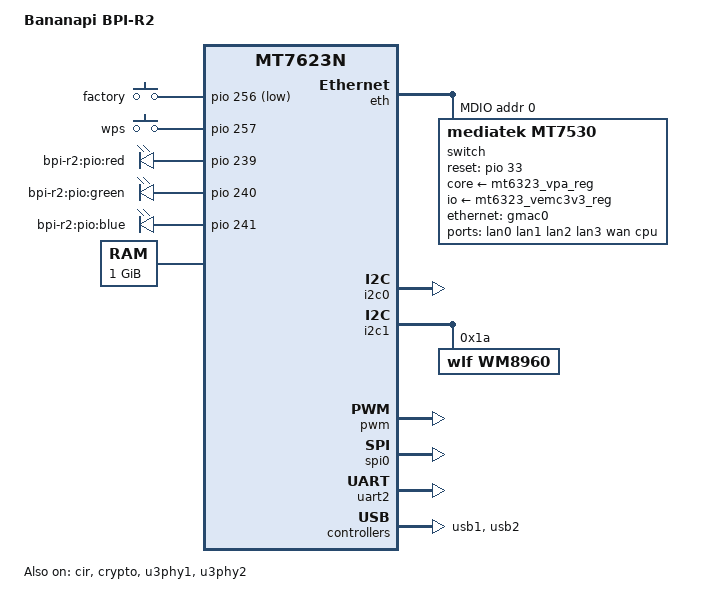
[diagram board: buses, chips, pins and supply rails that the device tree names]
/*
 * Copyright 2017 Sean Wang <sean.wang@mediatek.com>
 *
 * Sean Wang <sean.wang@mediatek.com>
 *
 * This file is dual-licensed: you can use it either under the terms
 * of the GPL or the X11 license, at your option. Note that this dual
 * licensing only applies to this file, and not this project as a
 * whole.
 *
 *  a) This file is free software; you can redistribute it and/or
 *     modify it under the terms of the GNU General Public License as
 *     published by the Free Software Foundation; either version 2 of the
 *     License, or (at your option) any later version.
 *
 *     This file is distributed in the hope that it will be useful,
 *     but WITHOUT ANY WARRANTY; without even the implied warranty of
 *     MERCHANTABILITY or FITNESS FOR A PARTICULAR PURPOSE.  See the
 *     GNU General Public License for more details.
 *
 * Or, alternatively,
 *
 *  b) Permission is hereby granted, free of charge, to any person
 *     obtaining a copy of this software and associated documentation
 *     files (the "Software"), to deal in the Software without
 *     restriction, including without limitation the rights to use,
 *     copy, modify, merge, publish, distribute, sublicense, and/or
 *     sell copies of the Software, and to permit persons to whom the
 *     Software is furnished to do so, subject to the following
 *     conditions:
 *
 *     The above copyright notice and this permission notice shall be
 *     included in all copies or substantial portions of the Software.
 *
 *     THE SOFTWARE IS PROVIDED "AS IS", WITHOUT WARRANTY OF ANY KIND,
 *     EXPRESS OR IMPLIED, INCLUDING BUT NOT LIMITED TO THE WARRANTIES
 *     OF MERCHANTABILITY, FITNESS FOR A PARTICULAR PURPOSE AND
 *     NONINFRINGEMENT. IN NO EVENT SHALL THE AUTHORS OR COPYRIGHT
 *     HOLDERS BE LIABLE FOR ANY CLAIM, DAMAGES OR OTHER LIABILITY,
 *     WHETHER IN AN ACTION OF CONTRACT, TORT OR OTHERWISE, ARISING
 *     FROM, OUT OF OR IN CONNECTION WITH THE SOFTWARE OR THE USE OR
 *     OTHER DEALINGS IN THE SOFTWARE.
 */

/dts-v1/;
#include <dt-bindings/input/input.h>
#include "mt7623-mt6323.dtsi"

/ {
	model = "Bananapi BPI-R2";
	compatible = "bananapi,bpi-r2", "mediatek,mt7623n";

	aliases {
		serial2 = &uart2;
	};

	chosen {
		stdout-path = "serial2:115200n8";
	};

	gpio_keys {
		compatible = "gpio-keys";
		pinctrl-names = "default";
		pinctrl-0 = <&key_pins_a>;

		factory {
			label = "factory";
			linux,code = <BTN_0>;
			gpios = <&pio 256 GPIO_ACTIVE_LOW>;
		};

		wps {
			label = "wps";
			linux,code = <KEY_WPS_BUTTON>;
			gpios = <&pio 257 GPIO_ACTIVE_HIGH>;
		};
	};

	leds {
		compatible = "gpio-leds";
		pinctrl-names = "default";
		pinctrl-0 = <&led_pins_a>;

		red {
			label = "bpi-r2:pio:red";
			gpios = <&pio 239 GPIO_ACTIVE_HIGH>;
			default-state = "off";
		};

		green {
			label = "bpi-r2:pio:green";
			gpios = <&pio 240 GPIO_ACTIVE_HIGH>;
			default-state = "off";
		};

		blue {
			label = "bpi-r2:pio:blue";
			gpios = <&pio 241 GPIO_ACTIVE_HIGH>;
			default-state = "off";
		};
	};

	memory@80000000 {
		reg = <0 0x80000000 0 0x40000000>;
	};

	sound:sound {
		compatible = "mediatek,mt2701-wm8960-machine";
		mediatek,platform = <&afe>;
		audio-routing =
			"Headphone", "HP_L",
			"Headphone", "HP_R",
			"LINPUT1", "AMIC",
			"RINPUT1", "AMIC";
		mediatek,audio-codec = <&wm8960>;
		pinctrl-names = "default";
		pinctrl-0 = <&i2s0_pins_a>;
	};
};

&pio {
	cir_pins_a:cir@0 {
		pins_cir {
			pinmux = <MT7623_PIN_46_IR_FUNC_IR>;
			bias-disable;
		};
	};

	i2c0_pins_a: i2c@0 {
		pins_i2c0 {
			pinmux = <MT7623_PIN_75_SDA0_FUNC_SDA0>,
				 <MT7623_PIN_76_SCL0_FUNC_SCL0>;
			bias-disable;
		};
	};

	i2c1_pins_a: i2c@1 {
		pin_i2c1 {
			pinmux = <MT7623_PIN_57_SDA1_FUNC_SDA1>,
				 <MT7623_PIN_58_SCL1_FUNC_SCL1>;
			bias-disable;
		};
	};

	i2s0_pins_a: i2s@0 {
		pin_i2s0 {
			pinmux = <MT7623_PIN_49_I2S0_DATA_FUNC_I2S0_DATA>,
				 <MT7623_PIN_72_I2S0_DATA_IN_FUNC_I2S0_DATA_IN>,
				 <MT7623_PIN_73_I2S0_LRCK_FUNC_I2S0_LRCK>,
				 <MT7623_PIN_74_I2S0_BCK_FUNC_I2S0_BCK>,
				 <MT7623_PIN_126_I2S0_MCLK_FUNC_I2S0_MCLK>;
			drive-strength = <MTK_DRIVE_12mA>;
			bias-pull-down;
		};
	};

	i2s1_pins_a: i2s@1 {
		pin_i2s1 {
			pinmux = <MT7623_PIN_33_I2S1_DATA_FUNC_I2S1_DATA>,
				 <MT7623_PIN_34_I2S1_DATA_IN_FUNC_I2S1_DATA_IN>,
				 <MT7623_PIN_35_I2S1_BCK_FUNC_I2S1_BCK>,
				 <MT7623_PIN_36_I2S1_LRCK_FUNC_I2S1_LRCK>,
				 <MT7623_PIN_37_I2S1_MCLK_FUNC_I2S1_MCLK>;
			drive-strength = <MTK_DRIVE_12mA>;
			bias-pull-down;
		};
	};

	key_pins_a: keys@0 {
		pins_keys {
			pinmux = <MT7623_PIN_256_GPIO256_FUNC_GPIO256>,
				 <MT7623_PIN_257_GPIO257_FUNC_GPIO257> ;
			input-enable;
		};
	};

	led_pins_a: leds@0 {
		pins_leds {
			pinmux = <MT7623_PIN_239_EXT_SDIO0_FUNC_GPIO239>,
				 <MT7623_PIN_240_EXT_XCS_FUNC_GPIO240>,
				 <MT7623_PIN_241_EXT_SCK_FUNC_GPIO241>;
		};
	};

	mmc0_pins_default: mmc0default {
		pins_cmd_dat {
			pinmux = <MT7623_PIN_111_MSDC0_DAT7_FUNC_MSDC0_DAT7>,
				 <MT7623_PIN_112_MSDC0_DAT6_FUNC_MSDC0_DAT6>,
				 <MT7623_PIN_113_MSDC0_DAT5_FUNC_MSDC0_DAT5>,
				 <MT7623_PIN_114_MSDC0_DAT4_FUNC_MSDC0_DAT4>,
				 <MT7623_PIN_118_MSDC0_DAT3_FUNC_MSDC0_DAT3>,
				 <MT7623_PIN_119_MSDC0_DAT2_FUNC_MSDC0_DAT2>,
				 <MT7623_PIN_120_MSDC0_DAT1_FUNC_MSDC0_DAT1>,
				 <MT7623_PIN_121_MSDC0_DAT0_FUNC_MSDC0_DAT0>,
				 <MT7623_PIN_116_MSDC0_CMD_FUNC_MSDC0_CMD>;
			input-enable;
			bias-pull-up;
		};

		pins_clk {
			pinmux = <MT7623_PIN_117_MSDC0_CLK_FUNC_MSDC0_CLK>;
			bias-pull-down;
		};

		pins_rst {
			pinmux = <MT7623_PIN_115_MSDC0_RSTB_FUNC_MSDC0_RSTB>;
			bias-pull-up;
		};
	};

	mmc0_pins_uhs: mmc0 {
		pins_cmd_dat {
			pinmux = <MT7623_PIN_111_MSDC0_DAT7_FUNC_MSDC0_DAT7>,
				 <MT7623_PIN_112_MSDC0_DAT6_FUNC_MSDC0_DAT6>,
				 <MT7623_PIN_113_MSDC0_DAT5_FUNC_MSDC0_DAT5>,
				 <MT7623_PIN_114_MSDC0_DAT4_FUNC_MSDC0_DAT4>,
				 <MT7623_PIN_118_MSDC0_DAT3_FUNC_MSDC0_DAT3>,
				 <MT7623_PIN_119_MSDC0_DAT2_FUNC_MSDC0_DAT2>,
				 <MT7623_PIN_120_MSDC0_DAT1_FUNC_MSDC0_DAT1>,
				 <MT7623_PIN_121_MSDC0_DAT0_FUNC_MSDC0_DAT0>,
				 <MT7623_PIN_116_MSDC0_CMD_FUNC_MSDC0_CMD>;
			input-enable;
			drive-strength = <MTK_DRIVE_2mA>;
			bias-pull-up = <MTK_PUPD_SET_R1R0_01>;
		};

		pins_clk {
			pinmux = <MT7623_PIN_117_MSDC0_CLK_FUNC_MSDC0_CLK>;
			drive-strength = <MTK_DRIVE_2mA>;
			bias-pull-down = <MTK_PUPD_SET_R1R0_01>;
		};

		pins_rst {
			pinmux = <MT7623_PIN_115_MSDC0_RSTB_FUNC_MSDC0_RSTB>;
			bias-pull-up;
		};
	};

	mmc1_pins_default: mmc1default {
		pins_cmd_dat {
			pinmux = <MT7623_PIN_107_MSDC1_DAT0_FUNC_MSDC1_DAT0>,
				 <MT7623_PIN_108_MSDC1_DAT1_FUNC_MSDC1_DAT1>,
				 <MT7623_PIN_109_MSDC1_DAT2_FUNC_MSDC1_DAT2>,
				 <MT7623_PIN_110_MSDC1_DAT3_FUNC_MSDC1_DAT3>,
				 <MT7623_PIN_105_MSDC1_CMD_FUNC_MSDC1_CMD>;
			input-enable;
			drive-strength = <MTK_DRIVE_4mA>;
			bias-pull-up = <MTK_PUPD_SET_R1R0_10>;
		};

		pins_clk {
			pinmux = <MT7623_PIN_106_MSDC1_CLK_FUNC_MSDC1_CLK>;
			bias-pull-down;
			drive-strength = <MTK_DRIVE_4mA>;
		};
	};

	mmc1_pins_uhs: mmc1 {
		pins_cmd_dat {
			pinmux = <MT7623_PIN_107_MSDC1_DAT0_FUNC_MSDC1_DAT0>,
				 <MT7623_PIN_108_MSDC1_DAT1_FUNC_MSDC1_DAT1>,
				 <MT7623_PIN_109_MSDC1_DAT2_FUNC_MSDC1_DAT2>,
				 <MT7623_PIN_110_MSDC1_DAT3_FUNC_MSDC1_DAT3>,
				 <MT7623_PIN_105_MSDC1_CMD_FUNC_MSDC1_CMD>;
			input-enable;
			drive-strength = <MTK_DRIVE_4mA>;
			bias-pull-up = <MTK_PUPD_SET_R1R0_10>;
		};

		pins_clk {
			pinmux = <MT7623_PIN_106_MSDC1_CLK_FUNC_MSDC1_CLK>;
			drive-strength = <MTK_DRIVE_4mA>;
			bias-pull-down = <MTK_PUPD_SET_R1R0_10>;
		};
	};

	spi0_pins_a: spi@0 {
		pins_spi {
			pinmux = <MT7623_PIN_53_SPI0_CSN_FUNC_SPI0_CS>,
				<MT7623_PIN_54_SPI0_CK_FUNC_SPI0_CK>,
				<MT7623_PIN_55_SPI0_MI_FUNC_SPI0_MI>,
				<MT7623_PIN_56_SPI0_MO_FUNC_SPI0_MO>;
			bias-disable;
		};
	};

	pwm_pins_a: pwm@0 {
		pins_pwm {
			pinmux = <MT7623_PIN_203_PWM0_FUNC_PWM0>,
				 <MT7623_PIN_204_PWM1_FUNC_PWM1>,
				 <MT7623_PIN_205_PWM2_FUNC_PWM2>,
				 <MT7623_PIN_206_PWM3_FUNC_PWM3>,
				 <MT7623_PIN_207_PWM4_FUNC_PWM4>;
		};
	};

	uart0_pins_a: uart@0 {
		pins_dat {
			pinmux = <MT7623_PIN_79_URXD0_FUNC_URXD0>,
				 <MT7623_PIN_80_UTXD0_FUNC_UTXD0>;
		};
	};

	uart1_pins_a: uart@1 {
		pins_dat {
			pinmux = <MT7623_PIN_81_URXD1_FUNC_URXD1>,
				 <MT7623_PIN_82_UTXD1_FUNC_UTXD1>;
		};
	};
};

&cir {
	pinctrl-names = "default";
	pinctrl-0 = <&cir_pins_a>;
	status = "okay";
};

&crypto {
	status = "okay";
};

&eth {
	status = "okay";
	gmac0: mac@0 {
		compatible = "mediatek,eth-mac";
		reg = <0>;
		phy-mode = "trgmii";
		fixed-link {
			speed = <1000>;
			full-duplex;
			pause;
		};
	};

	mdio: mdio-bus {
		switch@0 {
			compatible = "mediatek,mt7530";
			#address-cells = <1>;
			#size-cells = <0>;
			reg = <0>;

			pinctrl-names = "default";
			reset-gpios = <&pio 33 0>;
			core-supply = <&mt6323_vpa_reg>;
			io-supply = <&mt6323_vemc3v3_reg>;

			ports {
				#address-cells = <1>;
				#size-cells = <0>;
				reg = <0>;
				port@0 {
					reg = <0>;
					label = "lan0";
				};

				port@1 {
					reg = <1>;
					label = "lan1";
				};

				port@2 {
					reg = <2>;
					label = "lan2";
				};

				port@3 {
					reg = <3>;
					label = "lan3";
				};

				port@4 {
					reg = <4>;
					label = "wan";
				};

				port@6 {
					reg = <6>;
					label = "cpu";
					ethernet = <&gmac0>;
					phy-mode = "rgmii";
					fixed-link {
						speed = <1000>;
						full-duplex;
					};
				};
			};
		};
	};
};

&pwrap {
	mt6323 {
		mt6323led: led {
			compatible = "mediatek,mt6323-led";
			#address-cells = <1>;
			#size-cells = <0>;

			led@0 {
				reg = <0>;
				label = "bpi-r2:isink:green";
				default-state = "off";
			};
			led@1 {
				reg = <1>;
				label = "bpi-r2:isink:red";
				default-state = "off";
			};
			led@2 {
				reg = <2>;
				label = "bpi-r2:isink:blue";
				default-state = "off";
			};
		};
	};
};

&i2c0 {
	pinctrl-names = "default";
	pinctrl-0 = <&i2c0_pins_a>;
	status = "okay";
};

&i2c1 {
	pinctrl-names = "default";
	pinctrl-0 = <&i2c1_pins_a>;
	status = "okay";

	wm8960: wm8960@1a {
		compatible = "wlf,wm8960";
		reg = <0x1a>;
	};
};

&pwm {
	pinctrl-names = "default";
	pinctrl-0 = <&pwm_pins_a>;
	status = "okay";
};

&spi0 {
	pinctrl-names = "default";
	pinctrl-0 = <&spi0_pins_a>;
	status = "okay";
};

&uart0 {
	pinctrl-names = "default";
	pinctrl-0 = <&uart0_pins_a>;
	status = "disabled";
};

&uart1 {
	pinctrl-names = "default";
	pinctrl-0 = <&uart1_pins_a>;
	status = "disabled";
};

&uart2 {
	status = "okay";
};

&u3phy1 {
	status = "okay";
};

&u3phy2 {
	status = "okay";
};

&usb1 {
	vusb33-supply = <&mt6323_vusb_reg>;
	status = "okay";
};

&usb2 {
	vusb33-supply = <&mt6323_vusb_reg>;
	status = "okay";
};
